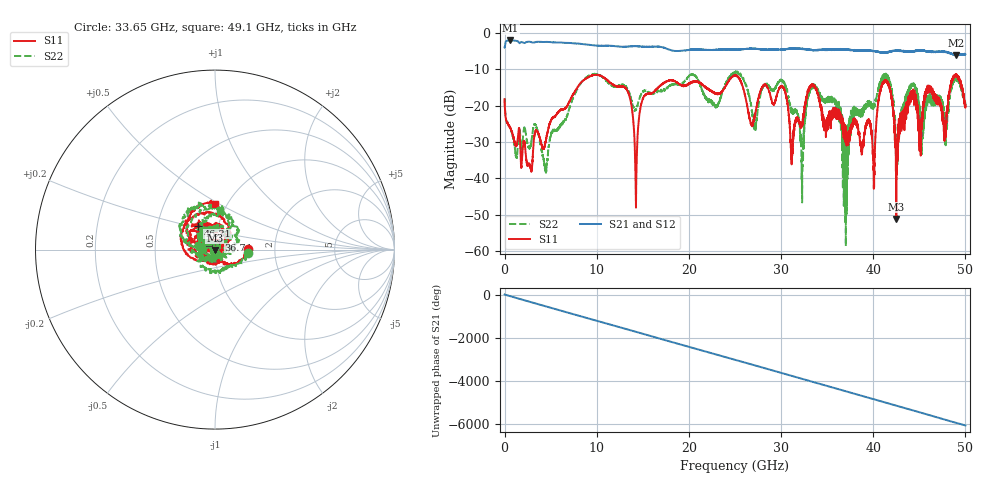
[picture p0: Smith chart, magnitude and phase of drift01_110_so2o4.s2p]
!Created with skrf (http://scikit-rf.org).
# Hz S RI R 50.0
!freq ReS11 ImS11 ReS21 ImS21 ReS12 ImS12 ReS22 ImS22
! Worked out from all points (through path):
!   10001 points, 300 kHz to 50 GHz, reference 50 ohm
!   highest |S21| = -2.00 dB at 625.3 MHz (marker M1); lowest = -6.1 dB at 48.98 GHz (marker M2)
!   group delay of S21, straight-line fit = 336 ps
!   lowest |S11| = -51.2 dB at 42.51 GHz (marker M3), VSWR 1.01, Z = 49.9 - j0.245 ohm
!   |S11| at or under -10 dB: start of sweep to end of sweep
!   |S22| runs from -58.7 to -10.5 dB; largest |S21 - S12| = 0.024
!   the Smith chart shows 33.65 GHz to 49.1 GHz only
!   S11 on the Smith chart (normalised r, x): 33.65 GHz: 1.46, +0.02; 36.74 GHz: 1.04, +0.12; 46.31 GHz: 0.80, +0.22; 49.1 GHz: 0.89, +0.49
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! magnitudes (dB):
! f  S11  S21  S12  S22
! 300 kHz  -18.2  -3.9  -4.0  -17.9
! 625.3 MHz  -26.1  -2.0  -2.0  -26.1
! 4.445 GHz  -29.9  -2.4  -2.4  -37.5
! 8.335 GHz  -13.5  -3.0  -2.9  -13.5
! 13.17 GHz  -15.2  -3.7  -3.7  -14.6
! 14.26 GHz  -48.0  -3.6  -3.6  -21.2
! 16.67 GHz  -14.9  -3.7  -3.7  -15.8
! 25 GHz  -11.6  -4.5  -4.5  -11.0
! 27.15 GHz  -22.5  -4.3  -4.3  -25.9
! 30.21 GHz  -15.0  -4.5  -4.5  -13.4
! 32.27 GHz  -25.7  -4.4  -4.3  -43.9
! 33.34 GHz  -14.1  -4.6  -4.6  -14.7
! 33.65 GHz  -14.6  -4.7  -4.7  -14.7
! 36.74 GHz  -24.4  -4.4  -4.4  -25.2
! 40.06 GHz  -40.6  -4.9  -4.9  -20.3
! 41.67 GHz  -14.1  -5.1  -5.1  -12.7
! 42.51 GHz  -51.2  -4.9  -4.9  -28.0
! 46.31 GHz  -15.8  -5.0  -5.0  -18.7
! 47.75 GHz  -28.4  -5.2  -5.1  -24.9
! 48.98 GHz  -11.3  -6.1  -6.0  -12.6
! 49.1 GHz  -11.9  -6.0  -6.0  -13.0
! 50 GHz  -20.4  -5.8  -5.8  -19.4
